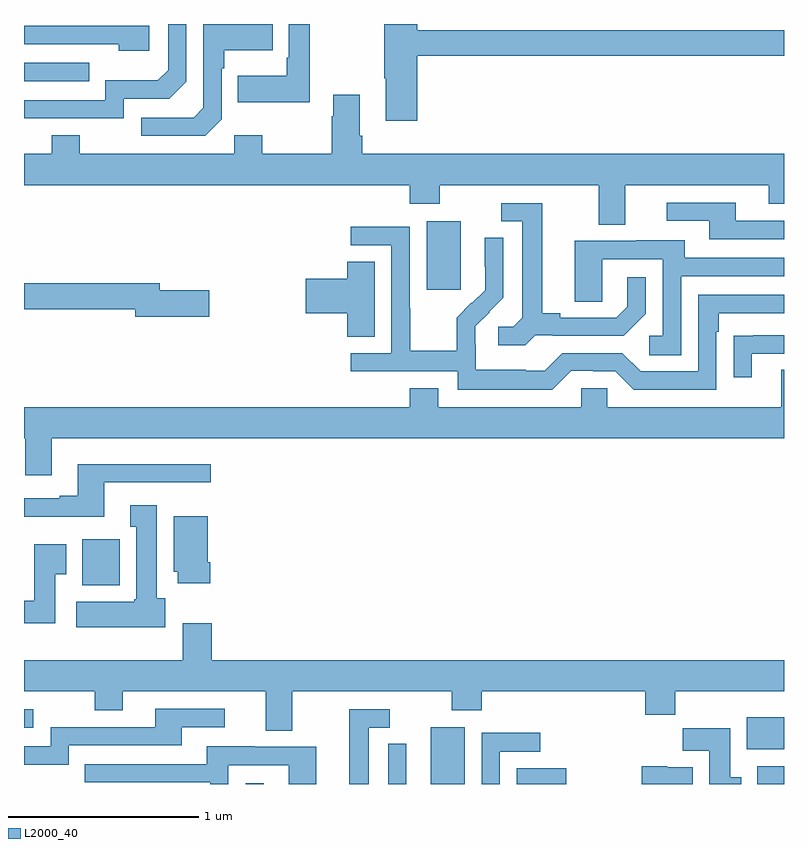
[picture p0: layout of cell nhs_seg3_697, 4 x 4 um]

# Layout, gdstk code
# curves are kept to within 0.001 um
import gdstk
lib = gdstk.Library(unit=1e-6, precision=1e-09)
def R(c, l, rs):  # rectangles x0, y0, x1, y1
    for r in rs: c.add(gdstk.rectangle(r[:2], r[2:], *l))
def P(c, l, *ps):  # polygons
    for p in ps: c.add(gdstk.Polygon(p, *l))
L2000_40 = (2000, 40)

nhs_seg3_697 = lib.new_cell('nhs_seg3_697')
R(nhs_seg3_697, L2000_40, [(146.166,728.4,146.263,728.404), (147.14,728.4,147.319,728.698), (147.593,728.4,147.853,728.482), (148.859,728.4,149,728.494), (148.805,728.582,149,728.752), (145,728.697,145.048,728.793), (145.307,729.446,145.504,729.688), (147.119,731.001,147.298,731.362), (145,732.099,145.343,732.195)])
P(nhs_seg3_697, L2000_40, [(145.524,732.006),(145.764,732.006),(145.854,732.096),(145.854,732.4),(145.758,732.4),(145.758,732.156),(145.705,732.103),(145.428,732.103),(145.428,732),(145,732),(145,731.904),(145.524,731.904)],
  [(147.071,732.232),(149,732.232),(149,732.368),(147.071,732.368),(147.071,732.4),(146.896,732.4),(146.896,732.115),(146.903,732.115),(146.903,731.892),(147.071,731.892)],
  [(146.04,731.898),(146.04,732.167),(146.053,732.167),(146.053,732.263),(146.309,732.263),(146.309,732.4),(145.944,732.4),(145.944,731.958),(145.893,731.907),(145.617,731.907),(145.617,731.811),(145.953,731.811)],
  [(146.503,732.4),(146.394,732.4),(146.394,732.223),(146.382,732.223),(146.382,732.127),(146.125,732.127),(146.125,731.987),(146.503,731.987)],
  [(145.66,732.39),(145,732.39),(145,732.294),(145.499,732.294),(145.499,732.26),(145.66,732.26)],
  [(145.145,731.815),(145.145,731.716),(145,731.716),(145,731.552),(147.029,731.552),(147.029,731.453),(147.189,731.453),(147.189,731.552),(148.025,731.552),(148.025,731.344),(148.165,731.344),(148.165,731.552),(148.919,731.552),(148.919,731.453),(149,731.453),(149,731.716),(146.78,731.716),(146.78,731.812),(146.767,731.812),(146.767,732.028),(146.627,732.028),(146.627,731.915),(146.62,731.915),(146.62,731.716),(146.253,731.716),(146.253,731.815),(146.106,731.815),(146.106,731.716),(145.293,731.716),(145.293,731.815)],
  [(149,731.364),(148.747,731.364),(148.747,731.46),(148.383,731.46),(148.383,731.364),(148.607,731.364),(148.607,731.268),(149,731.268)],
  [(147.69,730.761),(147.784,730.761),(147.784,730.758),(148.156,730.758),(148.272,730.874),(148.272,731.068),(148.175,731.068),(148.175,730.911),(148.118,730.854),(147.823,730.854),(147.823,730.877),(147.727,730.877),(147.727,731.457),(147.513,731.457),(147.513,731.361),(147.623,731.361),(147.623,730.853),(147.576,730.806),(147.495,730.806),(147.495,730.709),(147.638,730.709)],
  [(147.879,730.575),(147.995,730.575),(147.995,730.572),(148.113,730.572),(148.209,730.476),(148.644,730.476),(148.644,730.781),(148.657,730.781),(148.657,730.878),(149,730.878),(149,730.974),(148.548,730.974),(148.548,730.572),(148.245,730.572),(148.149,730.668),(147.834,730.668),(147.741,730.575),(147.641,730.575),(147.641,730.579),(147.378,730.579),(147.378,730.713),(147.376,730.713),(147.376,730.81),(147.522,730.958),(147.522,731.276),(147.426,731.276),(147.426,731.122),(147.428,731.122),(147.428,731),(147.357,730.929),(147.354,730.932),(147.277,730.855),(147.277,730.681),(147.033,730.681),(147.033,730.904),(147.03,730.904),(147.03,731.334),(146.721,731.334),(146.721,731.235),(146.934,731.235),(146.934,730.668),(146.721,730.668),(146.721,730.572),(147.282,730.572),(147.282,730.475),(147.779,730.475)],
  [(148.458,731.073),(149,731.073),(149,731.169),(148.477,731.169),(148.477,731.263),(148.223,731.263),(148.223,731.259),(147.899,731.259),(147.899,730.939),(148.044,730.939),(148.044,731.163),(148.362,731.163),(148.362,730.758),(148.29,730.758),(148.29,730.657),(148.458,730.657)],
  [(146.845,731.15),(146.702,731.15),(146.702,731.06),(146.484,731.06),(146.484,730.877),(146.702,730.877),(146.702,730.753),(146.845,730.753)],
  [(145.975,731),(145.714,731),(145.714,731.036),(145,731.036),(145,730.9),(145.586,730.9),(145.586,730.858),(145.975,730.858)],
  [(148.831,730.665),(149,730.665),(149,730.761),(148.837,730.761),(148.837,730.76),(148.735,730.76),(148.735,730.542),(148.831,730.542)],
  [(145.147,730.22),(149,730.22),(149,730.579),(148.985,730.579),(148.985,730.384),(148.071,730.384),(148.071,730.482),(147.933,730.482),(147.933,730.384),(147.181,730.384),(147.181,730.483),(147.029,730.483),(147.029,730.384),(145,730.384),(145,730.22),(145.007,730.22),(145.007,730.026),(145.147,730.026)],
  [(145.423,729.987),(145.984,729.987),(145.984,730.084),(145.283,730.084),(145.283,729.916),(145.187,729.916),(145.187,729.903),(145,729.903),(145,729.806),(145.423,729.806)],
  [(145.744,729.378),(145.699,729.378),(145.699,729.868),(145.559,729.868),(145.559,729.755),(145.592,729.755),(145.592,729.372),(145.579,729.372),(145.579,729.358),(145.275,729.358),(145.275,729.224),(145.744,729.224)],
  [(145.979,729.568),(145.966,729.568),(145.966,729.808),(145.787,729.808),(145.787,729.516),(145.808,729.516),(145.808,729.456),(145.979,729.456)],
  [(145.165,729.505),(145.222,729.505),(145.222,729.661),(145.055,729.661),(145.055,729.364),(145,729.364),(145,729.246),(145.165,729.246)],
  [(146.413,728.888),(147.25,728.888),(147.25,728.789),(147.41,728.789),(147.41,728.888),(148.271,728.888),(148.271,728.764),(148.427,728.764),(148.427,728.888),(149,728.888),(149,729.052),(145.988,729.052),(145.988,729.247),(145.835,729.247),(145.835,729.052),(145,729.052),(145,728.888),(145.372,728.888),(145.372,728.789),(145.519,728.789),(145.519,728.888),(146.273,728.888),(146.273,728.68),(146.413,728.68)],
  [(145.236,728.604),(145.831,728.604),(145.831,728.7),(146.056,728.7),(146.056,728.796),(145.691,728.796),(145.691,728.7),(145.14,728.7),(145.14,728.598),(145,728.598),(145,728.501),(145.236,728.501)],
  [(146.815,728.697),(146.926,728.697),(146.926,728.793),(146.711,728.793),(146.711,728.4),(146.815,728.4)],
  [(148.774,728.436),(148.717,728.436),(148.717,728.694),(148.468,728.694),(148.468,728.576),(148.607,728.576),(148.607,728.4),(148.774,728.4)],
  [(147.504,728.571),(147.718,728.571),(147.718,728.67),(147.408,728.67),(147.408,728.4),(147.504,728.4)],
  [(147.011,728.458),(147.012,728.458),(147.012,728.612),(146.916,728.612),(146.916,728.4),(147.011,728.4)],
  [(146.076,728.499),(146.394,728.499),(146.394,728.4),(146.539,728.4),(146.539,728.595),(146.215,728.595),(146.215,728.599),(145.961,728.599),(145.961,728.505),(145.321,728.505),(145.321,728.409),(145.98,728.409),(145.98,728.4),(146.076,728.4)],
  [(148.519,728.488),(148.386,728.488),(148.386,728.494),(148.25,728.494),(148.25,728.4),(148.519,728.4)])

lib.write_gds('nhs_seg3_697.gds')
